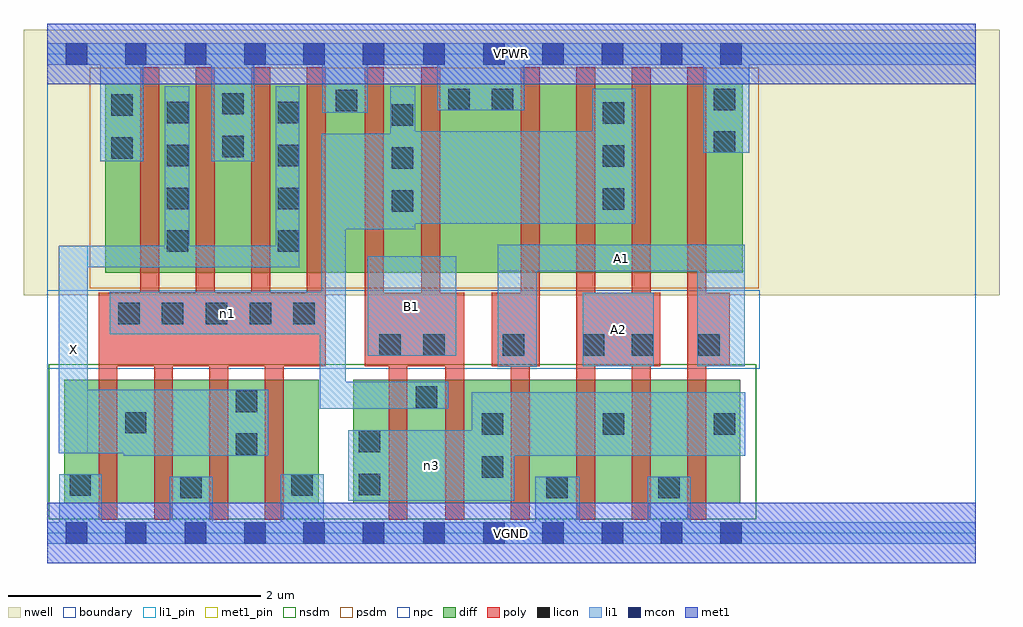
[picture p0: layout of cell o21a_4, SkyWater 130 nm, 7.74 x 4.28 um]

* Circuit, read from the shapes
.subckt o21a_4 A1 A2 B1 VGND VPWR X n1 n3
XM1 X n1 VGND VSUBS sky130_fd_pr__nfet_01v8 w=0.98 l=0.15 m=4
XM2 n1 B1 n3 VSUBS sky130_fd_pr__nfet_01v8 w=0.98 l=0.15 m=2
XM3 VGND A1 n3 VSUBS sky130_fd_pr__nfet_01v8 w=0.98 l=0.15 m=2
XM4 n3 A2 VGND VSUBS sky130_fd_pr__nfet_01v8 w=0.98 l=0.15 m=2
XM5 X n1 VPWR n2 sky130_fd_pr__pfet_01v8 w=1.5 l=0.15 m=4
XM6 n1 B1 VPWR n2 sky130_fd_pr__pfet_01v8 w=1.5 l=0.15 m=2
XM7 n4 A1 VPWR n2 sky130_fd_pr__pfet_01v8 w=1.5 l=0.15
XM8 n1 A2 n4 n2 sky130_fd_pr__pfet_01v8 w=1.5 l=0.15
XM9 n5 A2 n1 n2 sky130_fd_pr__pfet_01v8 w=1.5 l=0.15
XM10 VPWR A1 n5 n2 sky130_fd_pr__pfet_01v8 w=1.5 l=0.15
.ends

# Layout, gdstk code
import gdstk
lib = gdstk.Library(unit=1e-6, precision=1e-09)
def R(c, l, rs):  # rectangles x0, y0, x1, y1
    for r in rs: c.add(gdstk.rectangle(r[:2], r[2:], *l))
def A(c, l, x, y, w, h, nx, ny, dx, dy):  # array of equal rectangles
    R(c, l, [(x+i*dx, y+j*dy, x+i*dx+w, y+j*dy+h) for i in range(nx) for j in range(ny)])
nwell = (64, 20)
diff = (65, 20)
poly = (66, 20)
licon = (66, 44)
li1_pin = (67, 16)
li1 = (67, 20)
mcon = (67, 44)
met1_pin = (68, 16)
met1 = (68, 20)
nsdm = (93, 44)
psdm = (94, 20)
npc = (95, 20)
boundary = (235, 4)

o21a_4 = lib.new_cell('o21a_4')
R(o21a_4, nwell, [(-0.19,1.885,7.55,3.99), (0,1.885,7.36,3.99)])
R(o21a_4, diff, [(0.135,0.235,2.15,1.215), (2.425,0.235,5.495,1.215), (0.46,2.065,5.515,3.565)])
A(o21a_4, poly, 0.405, 0.105, 0.15, 1.8, 4, 1, 0.44, 0)
A(o21a_4, poly, 4.195, 0.105, 0.15, 3.59, 3, 1, 0.44, 0)
A(o21a_4, poly, 0.735, 1.325, 0.15, 2.37, 4, 1, 0.44, 0)
R(o21a_4, poly, [(2.705,0.105,2.855,1.905), (3.155,0.105,3.305,1.905), (3.675,0.105,3.825,1.905), (0.405,1.325,2.205,1.905), (2.515,1.325,2.665,3.695), (2.515,1.325,3.305,1.905), (2.965,1.325,3.115,3.695), (3.525,1.325,3.905,1.905), (3.755,1.325,3.905,3.695), (4.195,1.325,4.86,1.905), (5.075,1.325,5.41,1.905)])
A(o21a_4, licon, 0.905, 1.655, 0.17, 0.17, 3, 1, 0.35, 0)
A(o21a_4, licon, 0.945, 2.23, 0.17, 0.17, 1, 4, 0, 0.34)
A(o21a_4, licon, 1.825, 2.23, 0.17, 0.17, 1, 4, 0, 0.34)
A(o21a_4, licon, 2.73, 2.55, 0.17, 0.17, 1, 3, 0, 0.34)
A(o21a_4, licon, 4.405, 2.565, 0.17, 0.17, 1, 3, 0, 0.34)
R(o21a_4, licon, [(1.055,0.275,1.225,0.445), (3.955,0.275,4.125,0.445), (4.845,0.275,5.015,0.445), (0.175,0.295,0.345,0.465), (1.935,0.295,2.105,0.465), (2.47,0.3,2.64,0.47), (3.445,0.44,3.615,0.61), (1.495,0.62,1.665,0.79), (2.47,0.64,2.64,0.81), (3.445,0.78,3.615,0.95), (4.405,0.78,4.575,0.95), (5.285,0.78,5.455,0.95), (0.615,0.79,0.785,0.96), (1.495,0.96,1.665,1.13), (2.92,0.995,3.09,1.165), (2.63,1.405,2.8,1.575), (2.98,1.405,3.15,1.575), (3.61,1.405,3.78,1.575), (4.245,1.405,4.415,1.575), (4.635,1.405,4.805,1.575), (5.16,1.405,5.33,1.575), (0.56,1.655,0.73,1.825), (1.95,1.655,2.12,1.825), (0.505,2.97,0.675,3.14), (1.385,2.98,1.555,3.15), (5.285,3.015,5.455,3.185), (0.505,3.31,0.675,3.48), (1.385,3.32,1.555,3.49), (2.285,3.345,2.455,3.515), (3.18,3.355,3.35,3.525), (3.525,3.355,3.695,3.525), (5.285,3.355,5.455,3.525)])
R(o21a_4, li1_pin, [(0.09,0.635,0.32,2.28), (4.245,1.325,4.81,1.905), (2.54,1.405,3.24,2.195), (3.57,2.075,5.53,2.285)])
R(o21a_4, li1, [(0,-0.085,7.36,0.085), (0.095,-0.085,0.43,0.465), (0.97,-0.085,1.31,0.445), (1.85,-0.085,2.19,0.465), (3.87,-0.085,4.22,0.445), (4.76,-0.085,5.1,0.445), (2.385,0.255,3.7,0.815), (3.365,0.255,3.7,1.115), (0.605,0.615,1.75,1.135), (3.365,0.615,5.535,1.115), (0.09,0.635,1.75,1.135), (0.09,0.635,0.32,2.28), (2.16,0.985,3.18,1.2), (2.16,0.985,2.365,1.915), (2.17,0.985,2.365,3.165), (3.57,1.32,3.88,2.285), (4.245,1.325,4.81,1.905), (5.155,1.325,5.53,2.285), (2.54,1.405,3.24,2.195), (0.495,1.575,2.365,1.915), (3.57,2.075,5.53,2.285), (0.09,2.11,1.995,2.28), (0.93,2.11,1.125,3.545), (1.81,2.11,1.995,3.545), (2.17,2.41,2.915,3.165), (2.72,2.41,2.915,3.545), (2.72,2.455,4.66,3.185), (4.32,2.455,4.66,3.525), (0.42,2.95,0.76,3.885), (1.3,2.95,1.64,3.885), (5.2,3.015,5.565,3.885), (2.18,3.335,2.54,3.885), (3.09,3.355,3.78,3.885), (0,3.715,7.36,3.885)])
A(o21a_4, mcon, 1.09, -0.085, 0.17, 0.17, 4, 2, 0.47, 3.8)
A(o21a_4, mcon, 3.455, -0.085, 0.17, 0.17, 5, 2, 0.47, 3.8)
R(o21a_4, mcon, [(0.145,-0.085,0.315,0.085), (0.615,-0.085,0.785,0.085), (2.98,-0.085,3.15,0.085), (0.145,3.715,0.315,3.885), (0.615,3.715,0.785,3.885), (2.98,3.715,3.15,3.885)])
R(o21a_4, met1_pin, [(0,-0.24,7.36,0.24), (0,3.56,7.36,4.04)])
R(o21a_4, met1, [(0,-0.24,7.36,0.24), (0,3.56,7.36,4.04)])
R(o21a_4, nsdm, [(0.01,0.11,5.62,1.34)])
R(o21a_4, psdm, [(0.335,1.94,5.64,3.69)])
R(o21a_4, npc, [(0,1.305,5.65,1.925)])
R(o21a_4, boundary, [(0,0,7.36,3.8)])
o21a_4.add(gdstk.Label('A1', (4.55,2.18), layer=67, texttype=5))
o21a_4.add(gdstk.Label('A2', (4.527,1.615), layer=67, texttype=5))
o21a_4.add(gdstk.Label('B1', (2.89,1.8), layer=67, texttype=5))
o21a_4.add(gdstk.Label('X', (0.205,1.457), layer=67, texttype=5))
o21a_4.add(gdstk.Label('n3', (3.042,0.535), layer=67, texttype=5))
o21a_4.add(gdstk.Label('n1', (1.43,1.745), layer=67, texttype=5))
o21a_4.add(gdstk.Label('VPWR', (3.68,3.8), layer=68, texttype=5))
o21a_4.add(gdstk.Label('VGND', (3.68,0), layer=68, texttype=5))
o21a_4.add(gdstk.Label('A1', (4.55,2.18), layer=67, texttype=16))
o21a_4.add(gdstk.Label('A2', (4.527,1.615), layer=67, texttype=16))
o21a_4.add(gdstk.Label('B1', (2.89,1.8), layer=67, texttype=16))
o21a_4.add(gdstk.Label('X', (0.205,1.457), layer=67, texttype=16))
o21a_4.add(gdstk.Label('VPWR', (3.68,3.8), layer=68, texttype=16))
o21a_4.add(gdstk.Label('VGND', (3.68,0), layer=68, texttype=16))

lib.write_gds('o21a_4.gds')
